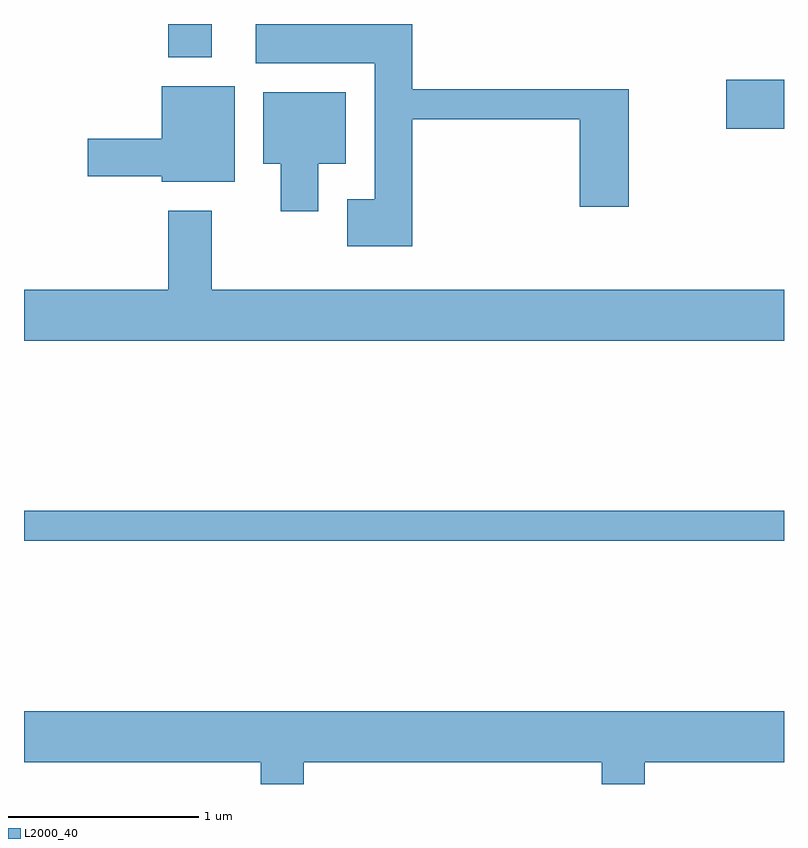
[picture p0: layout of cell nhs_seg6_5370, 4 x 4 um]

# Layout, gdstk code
import gdstk
lib = gdstk.Library(unit=1e-6, precision=1e-09)
def R(c, l, rs):  # rectangles x0, y0, x1, y1
    for r in rs: c.add(gdstk.rectangle(r[:2], r[2:], *l))
def P(c, l, *ps):  # polygons
    for p in ps: c.add(gdstk.Polygon(p, *l))
L2000_40 = (2000, 40)

nhs_seg6_5370 = lib.new_cell('nhs_seg6_5370')
R(nhs_seg6_5370, L2000_40, [(349.611,1533.441,353.611,1533.599), (353.306,1535.611,353.611,1535.869), (350.371,1535.986,350.599,1536.162)])
P(nhs_seg6_5370, L2000_40, [(351.654,1535.661),(352.536,1535.661),(352.536,1535.201),(352.794,1535.201),(352.794,1535.819),(351.654,1535.819),(351.654,1536.162),(350.831,1536.162),(350.831,1535.956),(351.456,1535.956),(351.456,1535.239),(351.311,1535.239),(351.311,1534.991),(351.654,1534.991)],
  [(350.719,1535.834),(350.336,1535.834),(350.336,1535.559),(349.946,1535.559),(349.946,1535.361),(350.336,1535.361),(350.336,1535.331),(350.719,1535.331)],
  [(351.159,1535.426),(351.304,1535.426),(351.304,1535.804),(350.871,1535.804),(350.871,1535.426),(350.961,1535.426),(350.961,1535.176),(351.159,1535.176)],
  [(353.611,1534.764),(350.599,1534.764),(350.599,1535.179),(350.371,1535.179),(350.371,1534.764),(349.611,1534.764),(349.611,1534.496),(353.611,1534.496)],
  [(351.084,1532.276),(352.651,1532.276),(352.651,1532.162),(352.879,1532.162),(352.879,1532.276),(353.611,1532.276),(353.611,1532.544),(349.611,1532.544),(349.611,1532.276),(350.856,1532.276),(350.856,1532.162),(351.084,1532.162)])

lib.write_gds('nhs_seg6_5370.gds')
